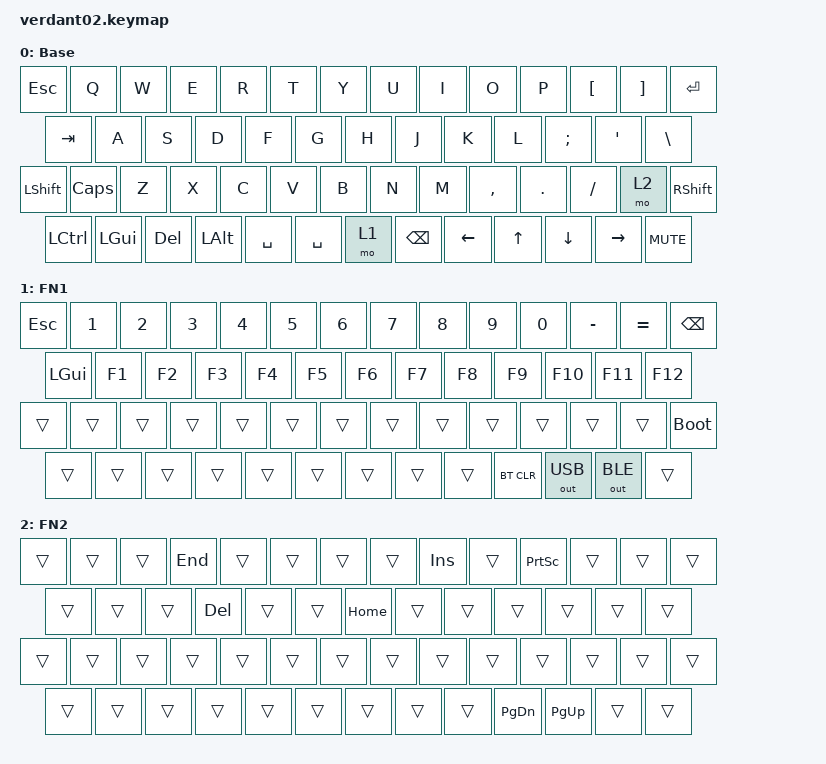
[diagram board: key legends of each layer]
/*
 * Copyright (c) 2026 The ZMK Contributors
 * SPDX-License-Identifier: MIT
 *
 * Verdant02 default keymap (3 layers).
 *
 * 54 bindings per layer; order matches QMK Firmware/verdant02/Verdant02.h:
 *   Phys Row 0: 14 keys
 *   Phys Row 1: 13 keys
 *   Phys Row 2: 14 keys
 *   Phys Row 3: 13 keys
 *
 * KEYCODE RULE (to avoid "expected number" parse errors):
 *   Every &kp keycode below MUST appear as a #define in
 *   dt-bindings/zmk/keys.h. NO guesswork, no undocumented short names.
 *   - SINGLE_QUOTE / NON_US_HASH / BACKSLASH / FSLH / SEMI all verified
 *     in ZMK v0.3.0 keys.h.
 *   - BOOTLOADER is NOT a keycode; use &bootloader behavior reference.
 *   - MUTE is NOT a keycode; use &kp C_MUTE (Consumer page).
 */

#include <behaviors.dtsi>
#include <dt-bindings/zmk/keys.h>
#include <dt-bindings/zmk/outputs.h>
#include <dt-bindings/zmk/bt.h>

/ {
    keymap {
        compatible = "zmk,keymap";

        /* ============== Layer 0: BASE (ANSI 40%) ============== */
        default_layer {
            display-name = "Base";
            bindings = <
&kp ESC &kp Q &kp W &kp E &kp R &kp T &kp Y &kp U &kp I &kp O &kp P &kp LEFT_BRACKET &kp RIGHT_BRACKET &kp RETURN
&kp TAB &kp A &kp S &kp D &kp F &kp G &kp H &kp J &kp K &kp L &kp SEMI &kp SINGLE_QUOTE &kp BACKSLASH
&kp LSHIFT &kp CAPSLOCK &kp Z &kp X &kp C &kp V &kp B &kp N &kp M &kp COMMA &kp PERIOD &kp FSLH &mo 2 &kp RSHIFT
&kp LCTRL &kp LGUI &kp DELETE &kp LALT &kp SPACE &kp SPACE &mo 1 &kp BACKSPACE &kp LEFT &kp UP &kp DOWN &kp RIGHT &kp C_MUTE
            >;
        };

        /* ============== Layer 1: NUM + FUNC (_FN1) ============== */
        fn1_layer {
            display-name = "FN1";
            bindings = <
&kp ESCAPE &kp N1 &kp N2 &kp N3 &kp N4 &kp N5 &kp N6 &kp N7 &kp N8 &kp N9 &kp N0 &kp MINUS &kp EQUAL &kp BACKSPACE
&kp LGUI &kp F1 &kp F2 &kp F3 &kp F4 &kp F5 &kp F6 &kp F7 &kp F8 &kp F9 &kp F10 &kp F11 &kp F12
&trans &trans &trans &trans &trans &trans &trans &trans &trans &trans &trans &trans &trans &bootloader
&trans &trans &trans &trans &trans &trans &trans &trans &trans &bt BT_CLR &out OUT_USB &out OUT_BLE &trans
            >;
        };

        /* ============== Layer 2: NAV + EDIT (_FN2) ============== */
        fn2_layer {
            display-name = "FN2";
            bindings = <
&trans &trans &trans &kp END &trans &trans &trans &trans &kp INSERT &trans &kp PSCRN &trans &trans &trans
&trans &trans &trans &kp DELETE &trans &trans &kp HOME &trans &trans &trans &trans &trans &trans
&trans &trans &trans &trans &trans &trans &trans &trans &trans &trans &trans &trans &trans &trans
&trans &trans &trans &trans &trans &trans &trans &trans &trans &kp PG_DN &kp PG_UP &trans &trans
            >;
        };
    };
};
